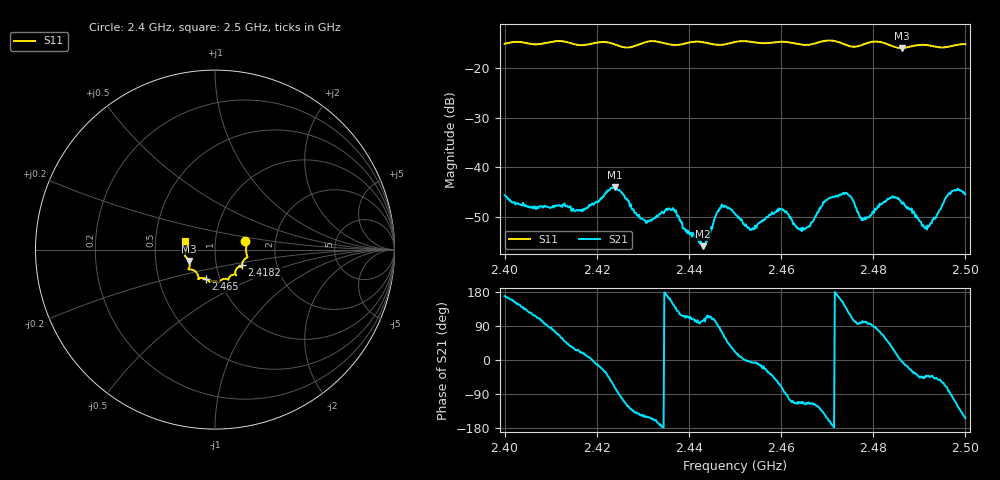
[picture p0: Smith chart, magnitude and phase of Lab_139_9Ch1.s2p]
# Hz S RI R 50
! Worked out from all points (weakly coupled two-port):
!   601 points, 2.4 GHz to 2.5 GHz, reference 50 ohm
!   highest |S21| = -44.05 dB at 2.424 GHz (marker M1); lowest = -55.9 dB at 2.443 GHz (marker M2)
!   lowest |S11| = -16.0 dB at 2.4862 GHz (marker M3), VSWR 1.38, Z = 37.1 - j4.81 ohm
!   |S11| at or under -10 dB: start of sweep to end of sweep
!   S12 and S22 are empty: the file has one direction only
!   S11 on the Smith chart (normalised r, x): 2.4 GHz: 1.40, +0.13; 2.4182 GHz: 1.33, -0.23; 2.465 GHz: 0.86, -0.29; 2.5 GHz: 0.71, +0.07
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2.4e9  0.1689 0.0459  -0.00512 0.00102  0 0  0 0
2.416667e9  0.1548 -0.0684  0.00343 0.00112  0 0  0 0
2.418167e9  0.1497 -0.0851  0.00393 0.000548  0 0  0 0
2.424e9  0.1423 -0.0961  0.00172 -0.00603  0 0  0 0
2.430333e9  0.1148 -0.1388  -0.00245 -0.00163  0 0  0 0
2.433333e9  0.1166 -0.1413  -0.00313 -0.000754  0 0  0 0
2.436833e9  0.0915 -0.1433  -0.00297 0.00228  0 0  0 0
2.443e9  0.0719 -0.1669  -0.000357 0.00157  0 0  0 0
2.446833e9  0.0453 -0.1645  0.000769 0.00378  0 0  0 0
2.45e9  0.0252 -0.1807  0.00316 0.00128  0 0  0 0
2.453667e9  0.0157 -0.1819  0.00234 -0.000294  0 0  0 0
2.46e9  -0.0278 -0.1813  0.00139 -0.00356  0 0  0 0
2.465e9  -0.0527 -0.1622  -0.000998 -0.00214  0 0  0 0
2.466667e9  -0.0713 -0.1577  -0.00116 -0.00253  0 0  0 0
2.469667e9  -0.0916 -0.1637  -0.0039 -0.00251  0 0  0 0
2.4735e9  -0.0938 -0.1472  -0.00476 0.00277  0 0  0 0
2.477833e9  -0.1311 -0.1112  -0.000473 0.00291  0 0  0 0
2.483333e9  -0.1421 -0.0961  0.00338 0.00343  0 0  0 0
2.486167e9  -0.1448 -0.0632  0.00431 -0.000308  0 0  0 0
2.4915e9  -0.1671 -0.0306  0.00182 -0.00178  0 0  0 0
2.496833e9  -0.1629 0.0258  -0.000161 -0.00551  0 0  0 0
2.5e9  -0.1668 0.0471  -0.00479 -0.00233  0 0  0 0
